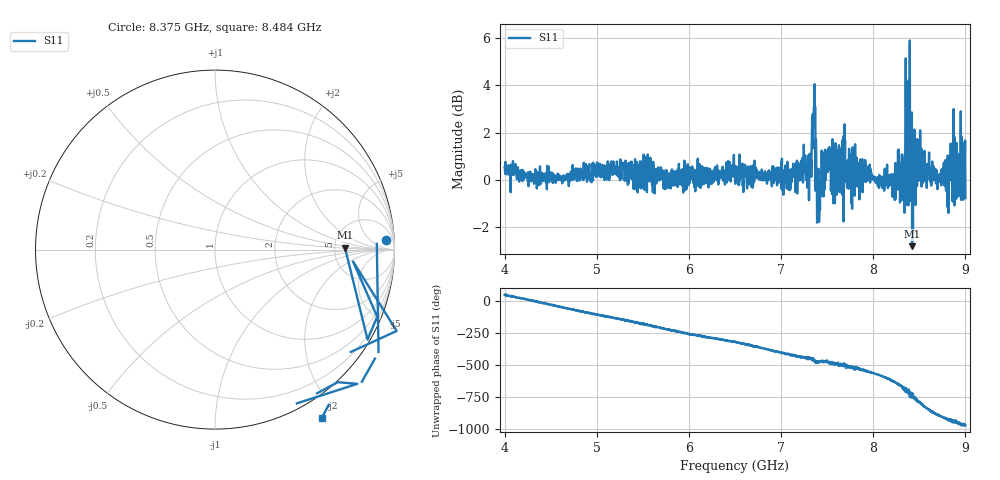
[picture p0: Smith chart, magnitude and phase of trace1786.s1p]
! Created with skrf 1.8.0 (http://scikit-rf.org).
# Hz S RI R 50.0
!freq ReS11 ImS11
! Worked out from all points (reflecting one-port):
!   1601 points, 4 GHz to 9 GHz, reference 50 ohm
!   lowest |S11| = -2.8 dB at 8.422 GHz (marker M1), VSWR 6.26, Z = 312 + j13.3 ohm
!   phase of S11 starts at 53 deg and turns -1023 deg over the sweep
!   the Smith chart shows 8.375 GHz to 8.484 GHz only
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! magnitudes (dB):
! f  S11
! 4 GHz  0.5
! 4.625 GHz  -0.1
! 5.25 GHz  0.1
! 5.875 GHz  0.1
! 6.5 GHz  0.3
! 7.125 GHz  0.2
! 7.303 GHz  -0.9
! 7.356 GHz  3.1
! 7.397 GHz  -0.5
! 7.412 GHz  -1.8
! 7.509 GHz  0.6
! 7.562 GHz  -0.1
! 7.669 GHz  1.6
! 7.75 GHz  0.3
! 8.209 GHz  -0.7
! 8.262 GHz  -0.4
! 8.316 GHz  -0.8
! 8.334 GHz  0.3
! 8.356 GHz  3.3
! 8.375 GHz  -0.4
! 8.391 GHz  1.3
! 8.422 GHz  -2.8
! 8.447 GHz  2.1
! 8.459 GHz  -1.1
! 8.497 GHz  0.6
! 8.722 GHz  0.0
! 8.972 GHz  0.2
! 9 GHz  -0.8
